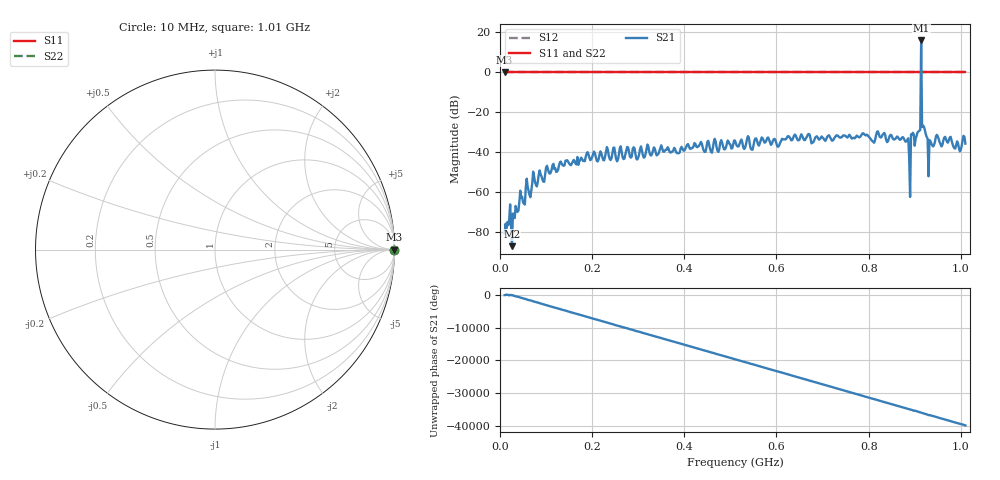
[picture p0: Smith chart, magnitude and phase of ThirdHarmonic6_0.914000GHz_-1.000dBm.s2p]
! 8/16/2025 5:54:11 AM
! C:\ANRITSUVNA\TEMP\TEMP.S2P
! CHANNEL.1
! TR.MEASUREMENT
! RAW.DATA
! RF.CORRECTION.OFF
! AVERAGING.OFF
! IF.BANDWIDTH: 5KHZ
! SWEEPTYPE:  FREQ.SWEEP(Linear)
! Reference Plane Port Info
! PORT:  PORT1  PORT2
! DISTANCE:  0  m  0  m
! TIME:  0  s  0  s
! PHASE.OFFSET:  0  deg.  0  deg.
! LOSS:  0  dB  0  dB
! REF.LOSS:  0  dB  0  dB
! REF.FREQ:  0  Hz  0  Hz
! Power Info
! POWER:  -20  dBm  -20  dBm
! EFF.POWER:  -20  dBm  -20  dBm
! SOURCE.ATTEN:  0  dB  0  dB
! TEST.ATTEN:  0  dB  0  dB
# GHZ S RI R 50.0
! FREQ.GHZ  S11RE  S11IM  S21RE  S21IM  S12RE  S12IM  S22RE  S22IM
!; PortSelection: Port_12
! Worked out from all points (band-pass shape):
!   501 points, 10 MHz to 1.01 GHz, reference 50 ohm
!   highest |S21| = 15.82 dB at 914 MHz (marker M1); lowest = -87.0 dB at 26 MHz (marker M2)
!   |S21| within 3 dB of the highest: 913.8659 MHz to 914.1386 MHz (272.7 kHz wide, 0.0298 % of centre)
!   lowest |S11| = 0.0 dB at 10 MHz (marker M3)
!   |S11| at or under -10 dB: nowhere
!   |S22| runs from 0.0 to 0.0 dB; largest |S21 - S12| = 5.3
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0.01  1 0  -2.19e-05 -9.06e-05  1 0  1 0
0.026  1 0  -3.8e-05 -2.35e-05  1 0  1 0
0.074  1 0  0.00113 0.00217  1 0  1 0
0.178  1 0  -0.00673 0.00048  1 0  1 0
0.344  1 0  0.00813 -0.00414  1 0  1 0
0.51  1 0  -0.00819 0.0175  1 0  1 0
0.668  1 0  -0.0176 -0.0209  1 0  1 0
0.678  1 0  -0.0172 0.000272  1 0  1 0
0.844  1 0  0.018 -0.0128  1 0  1 0
0.882  1 0  -0.0125 -0.0139  1 0  1 0
0.886  1 0  0.00769 0.0209  1 0  1 0
0.892  1 0  -0.0279 -0.000139  1 0  1 0
0.896  1 0  0.03 0.00518  1 0  1 0
0.908  1 0  -0.000298 -0.0329  1 0  1 0
0.91  1 0  -0.0343 -0.00139  1 0  1 0
0.914  1 0  5.615 -2.58  1 0  1 0
0.918  1 0  -0.0445 -0.0118  1 0  1 0
0.92  1 0  -0.00556 0.043  1 0  1 0
0.934  1 0  -0.000466 -0.0189  1 0  1 0
0.948  1 0  0.00803 0.0258  1 0  1 0
0.998  1 0  -0.00885 -0.0056  1 0  1 0
1.01  1 0  0.00865 0.0138  1 0  1 0
